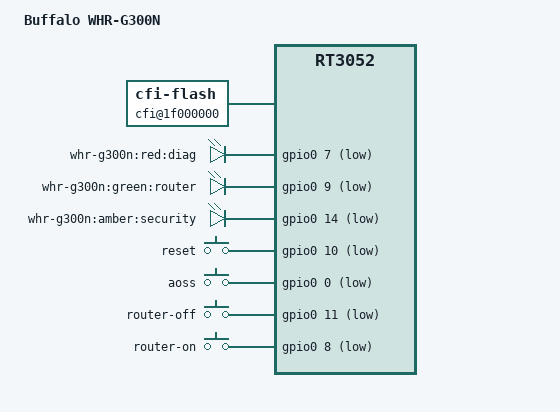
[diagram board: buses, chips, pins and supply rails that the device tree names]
/dts-v1/;

#include "rt3050.dtsi"

/ {
	compatible = "WHR-G300N", "ralink,rt3052-soc";
	model = "Buffalo WHR-G300N";

	cfi@1f000000 {
		compatible = "cfi-flash";
		reg = <0x1f000000 0x800000>;
		bank-width = <2>;
		device-width = <2>;
		#address-cells = <1>;
		#size-cells = <1>;
	};

	gpio-leds {
		compatible = "gpio-leds";

		diag {
			label = "whr-g300n:red:diag";
			gpios = <&gpio0 7 1>;
		};

		router {
			label = "whr-g300n:green:router";
			gpios = <&gpio0 9 1>;
		};

		security {
			label = "whr-g300n:amber:security";
			gpios = <&gpio0 14 1>;
		};
	};

	gpio-keys-polled {
		compatible = "gpio-keys-polled";
		#address-cells = <1>;
		#size-cells = <0>;
		poll-interval = <20>;

		reset {
			label = "reset";
			gpios = <&gpio0 10 1>;
			linux,code = <0x198>;
		};

		aoss {
			label = "aoss";
			gpios = <&gpio0 0 1>;
			linux,code = <0x211>;
		};

		router-off {
			label = "router-off";
			gpios = <&gpio0 11 1>;
			linux,code = <0x102>;
		};

		router-on {
			label = "router-on";
			gpios = <&gpio0 8 1>;
			linux,code = <0x103>;
		};
	};
};

&pinctrl {
	state_default: pinctrl0 {
		gpio {
			ralink,group = "spi", "i2c", "jtag", "rgmii", "mdio", "uartf";
			ralink,function = "gpio";
		};
	};
};

&esw {
	mediatek,portmap = <0x2f>;
};

/* FIXME: no partitions defined */
/*&wmac {
	ralink,mtd-eeprom = <&factory 0>;
};
*/
